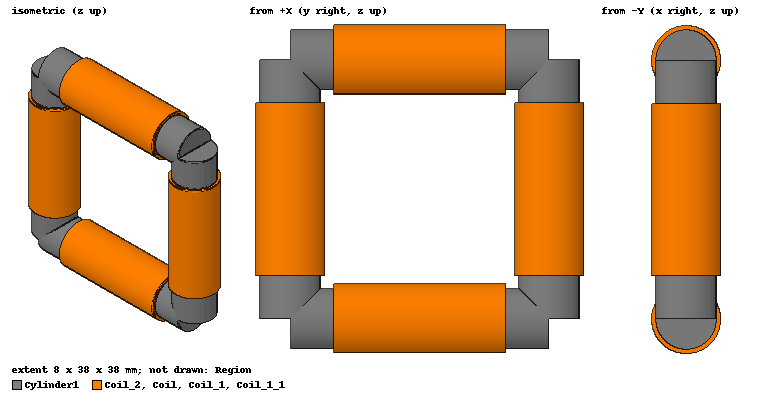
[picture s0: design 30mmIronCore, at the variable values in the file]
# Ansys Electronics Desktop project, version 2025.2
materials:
  vacuum: permittivity=1
  iron: permeability=4000 conductivity=10300000
  copper: permeability=0.999991 conductivity=58000000
  air: permittivity=1.0006 permeability=1.0000004
  steel_1008: permeability{HUnit=A_per_meter BUnit=tesla curve (0, 0) (159.2, 0.2402) (318.3, 0.8654) (477.5, 1.1106) (636.6, 1.2458) (795.8, 1.331) (1591.5, 1.5) (3183.1, 1.6) (4774.6, 1.683) (6366.2, 1.741) (7957.7, 1.78) (15915.5, 1.905) (31831, 2.025) (47746.5, 2.085) (63662, 2.13) (79577.5, 2.165) (159155, 2.28) (318310, 2.485) (397887, 2.5851)} conductivity=2000000

design 30mmIronCore (Maxwell 3D, Magnetostatic, model units mm)
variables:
  Amp = 2A
  Turn = 100
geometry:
  Coil [copper] = cylinder(axis=Z, base_centre=(0mm, 0mm, -10mm), radius=4mm, height=20mm)
  Circle1 = circle(normal=Z, centre=(0mm, 0mm, 10mm), radius=3.5mm)
  Circle1.thicken(-20mm)
  Coil.subtract(Circle1)
  Cylinder1 [iron] = cylinder(axis=Z, base_centre=(0mm, 0mm, -15mm), radius=3.5mm, height=30mm)
  Coil_Section1 [copper] = Coil.section(plane=ZX)
  Coil_Section1.separate_bodies()
  Region [air] = region(percentage_offset=100 on all sides)
  Coil_Section1_1 [copper] = Coil_Section1.duplicate_along_line(step=(30mm, 0mm, 0mm), total=2)
  Cylinder1_1 = Cylinder1.duplicate_along_line(step=(30mm, 0mm, 0mm), total=2)
  Coil_1 [copper] = Coil.duplicate_along_line(step=(30mm, 0mm, 0mm), total=2)
  [Cylinder1_1, Coil_1, Coil_Section1_1].rotate(axis=X, angle=90deg)
  [Cylinder1_1, Coil_1, Coil_Section1_1].move(0mm, 0mm, -15mm)
  [Cylinder1_1, Coil_1, Coil_Section1_1].move(-30mm, 15mm, 0mm)
  Cylinder1_2 = Cylinder1.duplicate_along_line(step=(0mm, 30mm, 0mm), total=2)
  Coil_2 [copper] = Coil.duplicate_along_line(step=(0mm, 30mm, 0mm), total=2)
  Coil_Section1_2 [copper] = Coil_Section1.duplicate_along_line(step=(0mm, 30mm, 0mm), total=2)
  Cylinder1_1_1 = Cylinder1_1.duplicate_along_line(step=(0mm, 0mm, 30mm), total=2)
  Coil_1_1 [copper] = Coil_1.duplicate_along_line(step=(0mm, 0mm, 30mm), total=2)
  Coil_Section1_1_1 [copper] = Coil_Section1_1.duplicate_along_line(step=(0mm, 0mm, 30mm), total=2)
  Cylinder1.unite(Cylinder1_2, Cylinder1_1, Cylinder1_1_1)
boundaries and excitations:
  Insulating1: Insulating Objects=Coil
  Insulating2: Insulating Objects=Coil_1
  Insulating3: Insulating Objects=Coil_2
  Insulating4: Insulating Objects=Coil_1_1
  Current1: Current Objects=Coil_Section1 Current=Amp*Turn IsSolid=false Point_out_of_terminal=false
  Current2: Current Objects=Coil_Section1_1 Current=Amp*Turn IsSolid=false Point_out_of_terminal=false
  Current3: Current Objects=Coil_Section1_2 Current=Amp*Turn IsSolid=false Point_out_of_terminal=false
  Current4: Current Objects=Coil_Section1_1_1 Current=Amp*Turn IsSolid=false Point_out_of_terminal=false
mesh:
  initial mesh: GlobalSurfApproximation{CurvedSurfaceApproxChoice=UseSlider SliderMeshSettings=4} GlobalCurvilinear{Apply}
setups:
  Setup1: Magnetostatic MaximumPasses=10 MinimumPasses=2 MinimumConvergedPasses=1 PercentRefinement=30 PercentError=1 NonLinearResidual=0.001
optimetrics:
  ParametricSetup1: Parametric Sim._Setups=[Setup1]
    sweep Amp: LIN 1A 3A 0.1A
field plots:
  Mag_H1: H in Cylinder1 on Setup1 : LastAdaptive
  Mag_H2: H in Region on Setup1 : LastAdaptive
  Mag_B1: B in Region on Setup1 : LastAdaptive
